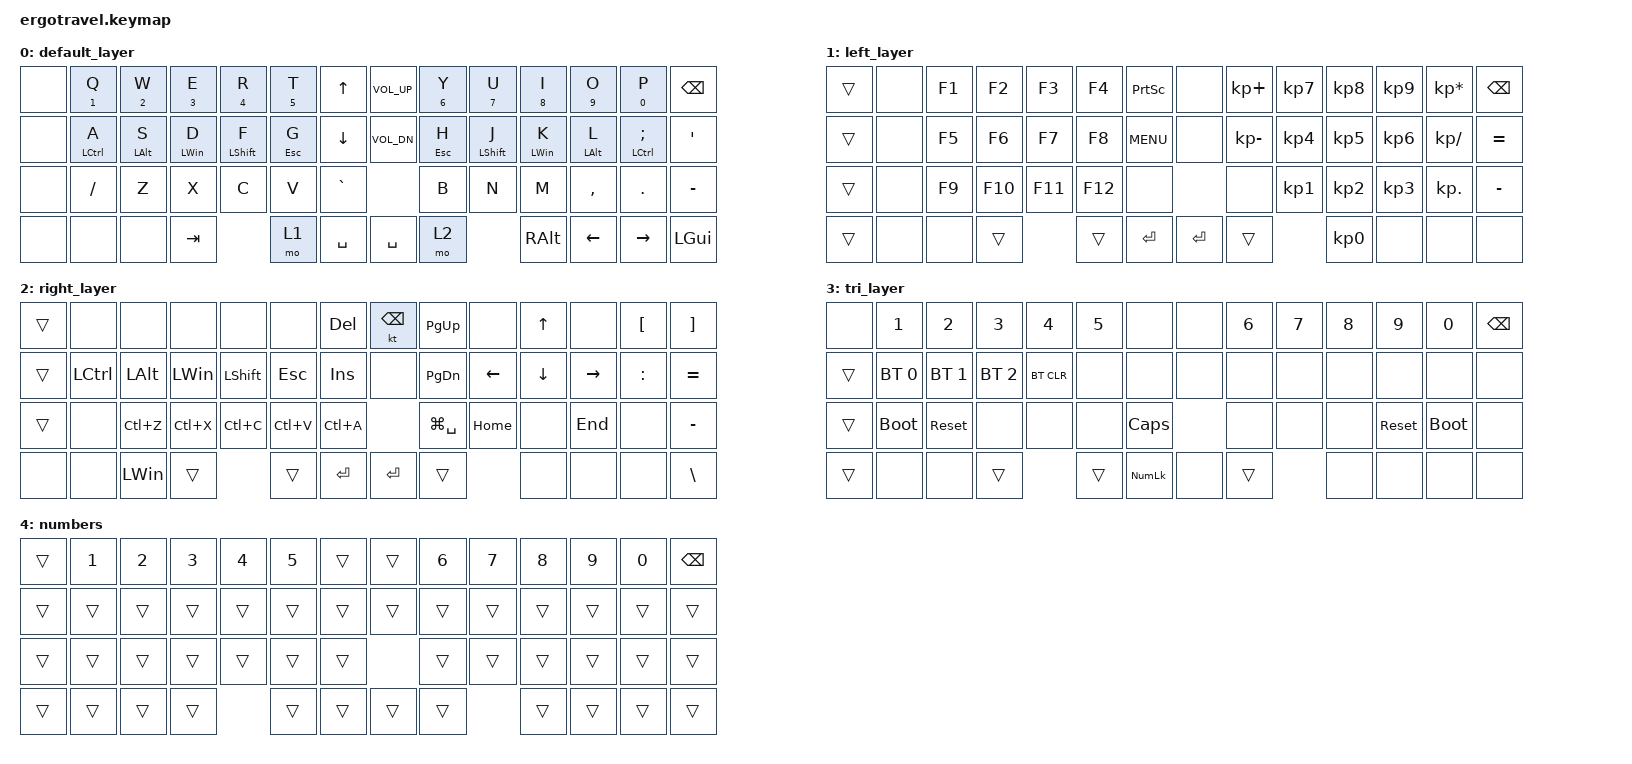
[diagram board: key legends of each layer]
/*
 * Copyright (c) 2020 The ZMK Contributors
 *
 * SPDX-License-Identifier: MIT
 */

#include <behaviors.dtsi>
#include <dt-bindings/zmk/bt.h>
#include <dt-bindings/zmk/keys.h>
#include <dt-bindings/zmk/keys.h>

#define DEFAULT 0
#define LOWER   1
#define RAISE   2
#define TRI     3

&mt {
    quick-tap-ms = <200>;
    require-prior-idle-ms = <150>;
    flavor = "balanced";
};

/ {
    combos {
        compatible = "zmk,combos";

        combo_tab {
            bindings = <&kp TAB>;
            key-positions = <46 47>;
            layers = <0>;
        };

        combo_mute {
            bindings = <&kp C_MUTE>;
            key-positions = <21 7>;
        };

        combo-tab-2 {
            bindings = <&kp TAB>;
            key-positions = <46 34>;
        };
    };

    keymap {
        compatible = "zmk,keymap";

        default_layer {
            bindings = <
&none  &mt N1 Q     &mt N2 W    &mt N3 E    &mt N4 R     &mt N5 T   &kp UP     &kp C_VOL_UP  &mt N6 Y   &mt N7 U     &mt N8 I    &mt N9 O    &mt N0 P        &kp BSPC
&none  &mt LCTRL A  &mt LALT S  &mt LWIN D  &mt LSHFT F  &mt ESC G  &kp DOWN   &kp C_VOL_DN  &mt ESC H  &mt LSHFT J  &mt LWIN K  &mt LALT L  &mt LCTRL SEMI  &kp SQT
&none  &kp SLASH    &kp Z       &kp X       &kp C        &kp V      &kp GRAVE                &kp B      &kp N        &kp M       &kp COMMA   &kp DOT         &kp MINUS
&none  &none        &none       &kp TAB                  &mo 1      &kp SPACE  &kp SPACE     &mo 2                   &kp RALT    &kp LEFT    &kp RIGHT       &kp LGUI
            >;
        };

        left_layer {
            bindings = <
&trans  &none  &kp F1  &kp F2   &kp F3   &kp F4   &kp PRINTSCREEN  &none      &kp KP_PLUS   &kp KP_NUMBER_7  &kp KP_NUMBER_8  &kp KP_NUMBER_9  &kp KP_MULTIPLY  &kp BACKSPACE
&trans  &none  &kp F5  &kp F6   &kp F7   &kp F8   &kp C_MENU       &none      &kp KP_MINUS  &kp KP_NUMBER_4  &kp KP_NUMBER_5  &kp KP_NUMBER_6  &kp KP_DIVIDE    &kp EQUAL
&trans  &none  &kp F9  &kp F10  &kp F11  &kp F12  &none                       &none         &kp KP_NUMBER_1  &kp KP_NUMBER_2  &kp KP_NUMBER_3  &kp KP_DOT       &kp MINUS
&trans  &none  &none   &trans            &trans   &kp ENTER        &kp ENTER  &trans                         &kp KP_NUMBER_0  &none            &none            &none
            >;
        };

        right_layer {
            bindings = <
&trans  &none      &none      &none      &none      &none      &kp DEL    &kt BACKSPACE  &kp PG_UP      &none     &kp UP    &none      &kp LBKT   &kp RBKT
&trans  &kp LCTRL  &kp LALT   &kp LWIN   &kp LSHFT  &kp ESC    &kp INS    &none          &kp PG_DN      &kp LEFT  &kp DOWN  &kp RIGHT  &kp COLON  &kp EQUAL
&trans  &none      &kp LC(Z)  &kp LC(X)  &kp LC(C)  &kp LC(V)  &kp LC(A)                 &kp LG(SPACE)  &kp HOME  &none     &kp END    &none      &kp MINUS
&none   &none      &kp LWIN   &trans                &trans     &kp ENTER  &kp ENTER      &trans                   &none     &none      &none      &kp BACKSLASH
            >;
        };

        tri_layer {
            bindings = <
&none   &kp N1        &kp N2        &kp N3        &kp N4      &kp N5  &none           &none  &kp N6  &kp N7  &kp N8  &kp N9      &kp N0       &kp BACKSPACE
&trans  &bt BT_SEL 0  &bt BT_SEL 1  &bt BT_SEL 2  &bt BT_CLR  &none   &none           &none  &none   &none   &none   &none       &none        &none
&trans  &bootloader   &sys_reset    &none         &none       &none   &kp CLCK               &none   &none   &none   &sys_reset  &bootloader  &none
&trans  &none         &none         &trans                    &trans  &kp KP_NUMLOCK  &none  &trans          &none   &none       &none        &none
            >;
        };

        numbers {
            bindings = <
&trans  &kp N1  &kp N2  &kp N3  &kp N4  &kp N5  &trans  &trans  &kp N6  &kp N7  &kp N8  &kp N9  &kp N0  &kp BSPC
&trans  &trans  &trans  &trans  &trans  &trans  &trans  &trans  &trans  &trans  &trans  &trans  &trans  &trans
&trans  &trans  &trans  &trans  &trans  &trans  &trans          &trans  &trans  &trans  &trans  &trans  &trans
&trans  &trans  &trans  &trans          &trans  &trans  &trans  &trans          &trans  &trans  &trans  &trans
            >;
        };
    };

    conditional_layers {
        compatible = "zmk,conditional-layers";

        tri_layer {
            if-layers = <1 2>;
            then-layer = <3>;
        };
    };
};
